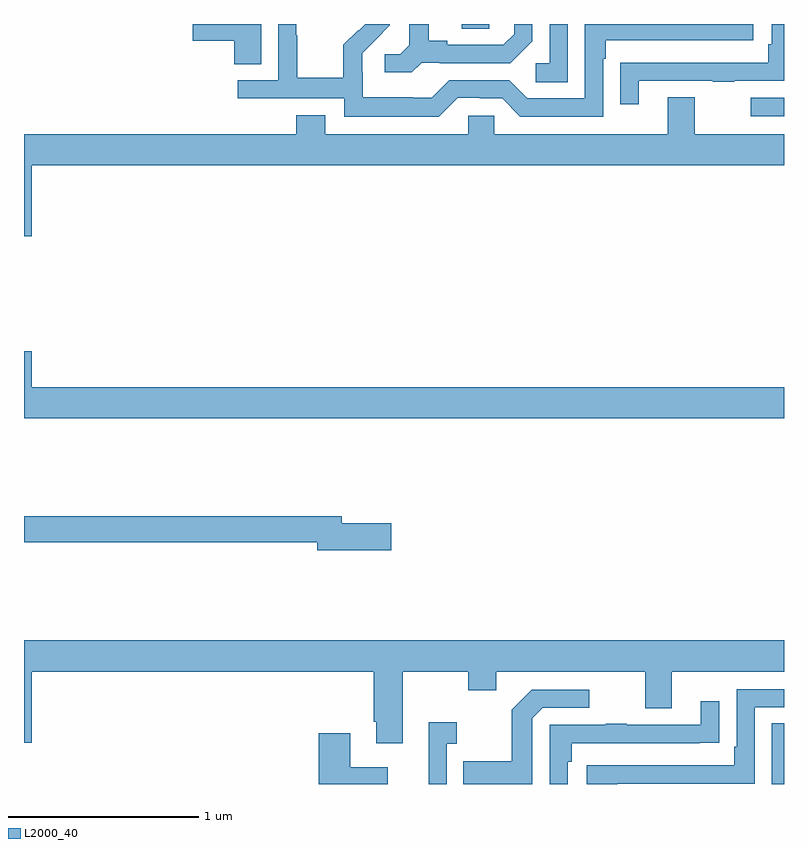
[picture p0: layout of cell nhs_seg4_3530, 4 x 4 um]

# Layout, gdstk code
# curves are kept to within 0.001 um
import gdstk
lib = gdstk.Library(unit=1e-6, precision=1e-09)
def R(c, l, rs):  # rectangles x0, y0, x1, y1
    for r in rs: c.add(gdstk.rectangle(r[:2], r[2:], *l))
def P(c, l, *ps):  # polygons
    for p in ps: c.add(gdstk.Polygon(p, *l))
L2000_40 = (2000, 40)

nhs_seg4_3530 = lib.new_cell('nhs_seg4_3530')
R(nhs_seg4_3530, L2000_40, [(300.936,790.9,301,791.219), (300.825,794.415,301,794.511), (299.303,794.875,299.448,794.9)])
P(nhs_seg4_3530, L2000_40, [(299.094,794.697),(299.188,794.697),(299.188,794.694),(299.56,794.694),(299.676,794.81),(299.676,794.9),(299.579,794.9),(299.579,794.847),(299.522,794.79),(299.227,794.79),(299.227,794.813),(299.131,794.813),(299.131,794.9),(299.027,794.9),(299.027,794.789),(298.98,794.742),(298.899,794.742),(298.899,794.645),(299.042,794.645)],
  [(298.249,794.9),(297.888,794.9),(297.888,794.813),(298.106,794.813),(298.106,794.689),(298.249,794.689)],
  [(299.862,794.9),(299.766,794.9),(299.766,794.694),(299.694,794.694),(299.694,794.593),(299.862,794.593)],
  [(299.283,794.511),(299.399,794.511),(299.399,794.508),(299.517,794.508),(299.613,794.412),(300.048,794.412),(300.048,794.717),(300.061,794.717),(300.061,794.814),(300.838,794.814),(300.838,794.9),(299.952,794.9),(299.952,794.508),(299.649,794.508),(299.553,794.604),(299.238,794.604),(299.145,794.511),(299.045,794.511),(299.045,794.515),(298.782,794.515),(298.782,794.649),(298.78,794.649),(298.78,794.746),(298.926,794.894),(298.926,794.9),(298.796,794.9),(298.761,794.865),(298.758,794.868),(298.681,794.791),(298.681,794.617),(298.437,794.617),(298.437,794.84),(298.434,794.84),(298.434,794.9),(298.338,794.9),(298.338,794.604),(298.125,794.604),(298.125,794.508),(298.686,794.508),(298.686,794.411),(299.183,794.411)],
  [(300.235,794.601),(300.625,794.601),(300.625,794.596),(300.737,794.596),(300.737,794.601),(301,794.601),(301,794.9),(300.936,794.9),(300.936,794.794),(300.916,794.794),(300.916,794.697),(300.241,794.697),(300.241,794.696),(300.139,794.696),(300.139,794.478),(300.235,794.478)],
  [(297.04,794.156),(301,794.156),(301,794.32),(300.529,794.32),(300.529,794.515),(300.389,794.515),(300.389,794.32),(299.475,794.32),(299.475,794.418),(299.337,794.418),(299.337,794.32),(298.585,794.32),(298.585,794.419),(298.433,794.419),(298.433,794.32),(297,794.32),(297,793.782),(297.04,793.782)],
  [(301,792.988),(297.04,792.988),(297.04,793.177),(297,793.177),(297,792.824),(301,792.824)],
  [(298.933,792.272),(298.672,792.272),(298.672,792.308),(297,792.308),(297,792.172),(298.544,792.172),(298.544,792.13),(298.933,792.13)],
  [(298.993,791.492),(299.338,791.492),(299.338,791.393),(299.485,791.393),(299.485,791.492),(300.269,791.492),(300.269,791.298),(300.409,791.298),(300.409,791.492),(301,791.492),(301,791.656),(297,791.656),(297,791.118),(297.04,791.118),(297.04,791.492),(298.841,791.492),(298.841,791.227),(298.853,791.227),(298.853,791.115),(298.993,791.115)],
  [(300.122,790.902),(300.846,790.902),(300.846,791.304),(301,791.304),(301,791.4),(300.75,791.4),(300.75,791.095),(300.737,791.095),(300.737,790.998),(299.961,790.998),(299.961,790.9),(300.122,790.9)],
  [(299.676,791.247),(299.73,791.301),(299.974,791.301),(299.974,791.397),(299.673,791.397),(299.568,791.291),(299.568,791.019),(299.311,791.019),(299.311,790.9),(299.676,790.9)],
  [(299.862,791.018),(299.882,791.018),(299.882,791.115),(300.557,791.115),(300.557,791.116),(300.659,791.116),(300.659,791.335),(300.563,791.335),(300.563,791.211),(300.173,791.211),(300.173,791.216),(300.061,791.216),(300.061,791.211),(299.766,791.211),(299.766,790.9),(299.862,790.9)],
  [(299.226,791.111),(299.278,791.111),(299.278,791.224),(299.129,791.224),(299.129,790.9),(299.226,790.9)],
  [(298.915,790.987),(298.717,790.987),(298.717,791.167),(298.55,791.167),(298.55,790.9),(298.915,790.9)])

lib.write_gds('nhs_seg4_3530.gds')
